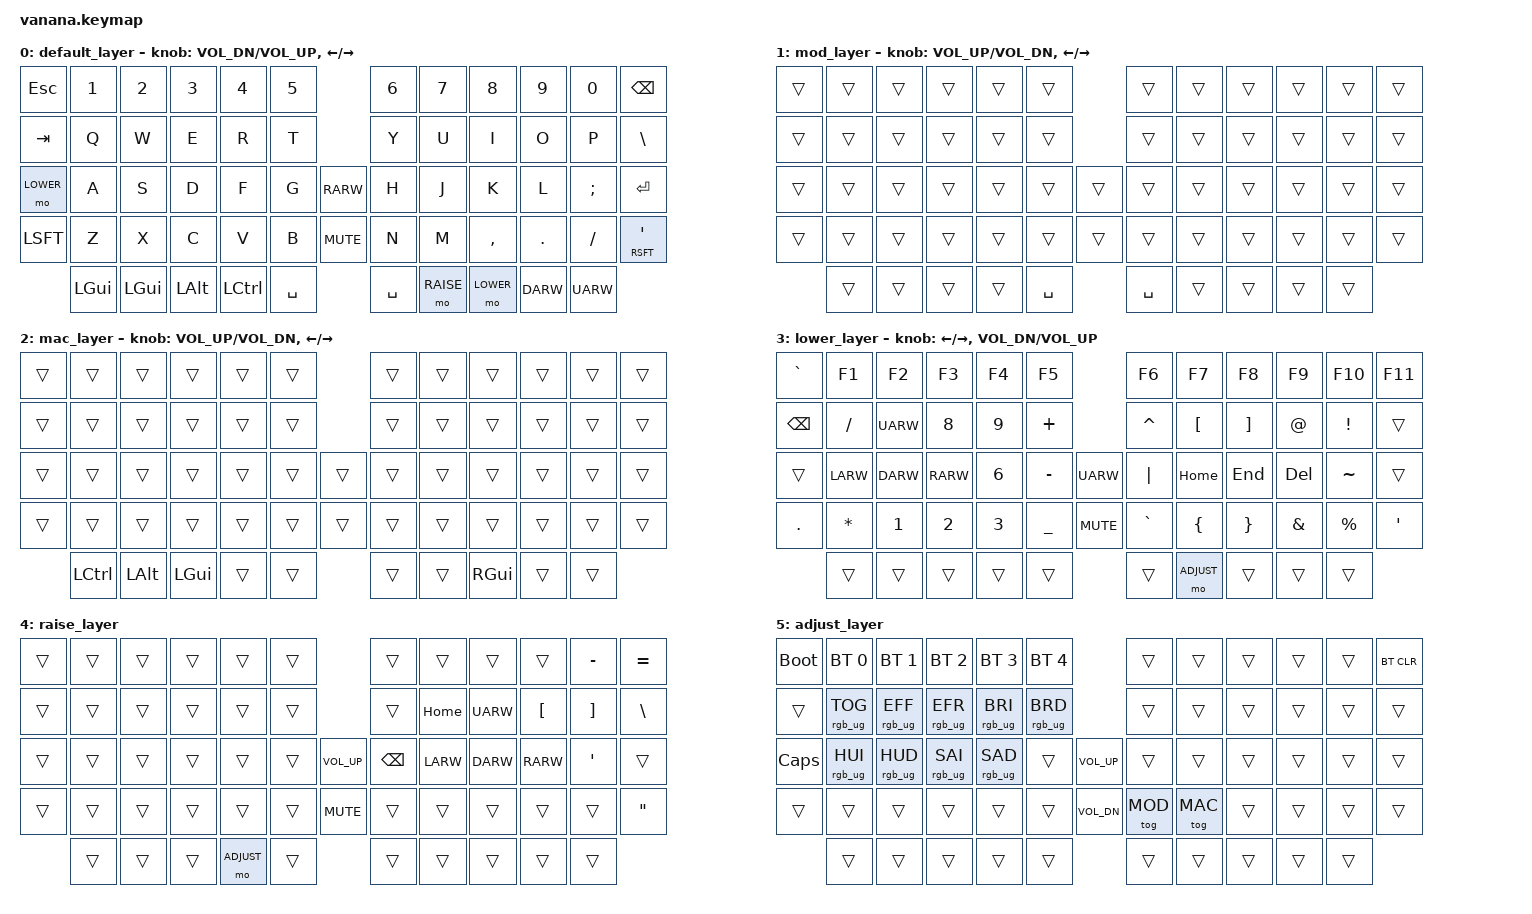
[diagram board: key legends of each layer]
/*
 * Copyright (c) 2020 dELLIKEEb
 *
 * SPDX-License-Identifier: MIT
 */

#include <behaviors.dtsi>
#include <dt-bindings/zmk/keys.h>
#include <dt-bindings/zmk/bt.h>
#include <dt-bindings/zmk/rgb.h>

// custom keycode defs for easier access
#define DEFAULT 0
#define MOD     1
#define MAC     2
#define LOWER   3
#define RAISE   4
#define ADJUST  5

// / {
//     behaviors {
//         hm: homerow_mods {
//             compatible = "zmk,behavior-hold-tap";
//             label = "homerow mods";
//             #binding-cells = <2>;
//             tapping_term_ms = <225>;
//             flavor = "tap-preferred";
//             bindings = <&kp>, <&kp>;
//         };
//     };
// };

// BASE
// -------------------------------------------               -------------------------------------------
// |   ESC  |   1  |   2  |   3  |   4  |   5  |               |   6  |   7  |   8  |   9  |   0  | Bksp |
// -------------------------------------------               -------------------------------------------
// | Tab  |   Q  |   W  |   E  |   R  |   T  |               |   Y  |   U  |   I  |   O  |   P  | Del  |
// -------------------------------------------   ---------  --------------------------------------------
// | Lower  |   A  |   S  |   D  |   F  |   G  |   | NONE  |   |   H  |   J  |   K  |   L  |   ;  |Enter |
// -------------------------------------------   ---------   -------------------------------------------
// | Shift|   Z  |   X  |   C  |   V  |   B  |   | MUTE  |   |   N  |   M  |   ,  |   .  |   /  | "    |
// -------------------------------------------   ---------   -------------------------------------------
//        | GUI | Alt  |  Alt |Ctrl |Space |               |Space |Raise |Alt   | DOWN | UP   |
//        ------------------------------------               ------------------------------------
// 

// LOWER
// -------------------------------------------               -------------------------------------------
// |   ESC|  F1  |  F2  |  F3  |  F4  |  F5  |               |  F6  |  F7  |  F8  |  F9  |  F10 | Bksp |
// -------------------------------------------               -------------------------------------------
// | Tab  |   Q  |   UP  |   E  |   R  |   T  |               |   Y  |   U  |   I  |   O  |   P  | Del  |
// -------------------------------------------   ---------  --------------------------------------------
// | Lower  |   left  |   down  |   right  |   F  |   G  |   | NONE  |   |   H  |   Del  |  home  |   end  |   ;  |Enter |
// -------------------------------------------   ---------   -------------------------------------------
// | Shift|   Z  |   X  |   C  |   V  |   B  |   | MUTE  |   |   N  |   M  |   ,  |   .  |   /  | "    |
// -------------------------------------------   ---------   -------------------------------------------
//        | GUI | GUI  |  Alt |Ctrl |Space |               |Space |Raise |Alt   | DOWN | UP   |
//        ------------------------------------               ------------------------------------
// 

// RAISE
// -------------------------------------------               -------------------------------------------
// |   ESC  |   1  |   2  |   3  |   4  |   5  |               |   6  |   7  |   8  |   9  |   -  |   =  |
// -------------------------------------------               -------------------------------------------
// | Tab  |   Q  |   W  |   E  |   R  |   T  |               |   Y  |   U  |   I  |   O  |   P  | Del  |
// -------------------------------------------   ---------  --------------------------------------------
// | Esc  |   A  |   S  |   D  |   F  |   G  |   | NONE  |   |   H  |   J  |   K  |   L  |   ;  |Enter |
// -------------------------------------------   ---------   -------------------------------------------
// | Shift|   Z  |   X  |   C  |   V  |   B  |   | MUTE  |   |   N  |   M  |   ,  |   .  |   /  | "    |
// -------------------------------------------   ---------   -------------------------------------------
//        | Ctrl | GUI  |  Alt |Lower |Space |               |Space |Raise |Alt   | DOWN | UP   |
//        ------------------------------------               ------------------------------------
// 


/ {
    keymap {
        compatible = "zmk,keymap";

        default_layer {
            bindings = <
                &kp ESC     &kp N1      &kp N2      &kp N3      &kp N4    &kp N5                    &kp N6      &kp N7      &kp N8      &kp N9      &kp N0      &kp BKSP
                &kp TAB     &kp Q       &kp W       &kp E       &kp R     &kp T                     &kp Y       &kp U       &kp I       &kp O       &kp P       &kp BSLH
                &mo LOWER   &kp A       &kp S       &kp D       &kp F     &kp G       &kp RARW      &kp H       &kp J       &kp K       &kp L       &kp SCLN    &kp RET
                &kp LSFT    &kp Z       &kp X       &kp C       &kp V     &kp B       &kp C_MUTE    &kp N       &kp M       &kp CMMA    &kp DOT     &kp FSLH    &mt RSFT SQT
                            &kp LGUI    &kp LGUI    &kp LALT    &kp LCTL  &kp SPC                   &kp SPC     &mo RAISE   &mo LOWER   &kp DARW    &kp UARW
            >;
            sensor-bindings = <&inc_dec_kp C_VOL_DN C_VOL_UP &inc_dec_kp LEFT RIGHT>;
        };

        mod_layer {
            bindings = <
                &trans      &trans      &trans      &trans      &trans      &trans                  &trans      &trans      &trans      &trans      &trans      &trans  
                &trans      &trans      &trans      &trans      &trans      &trans                  &trans      &trans      &trans      &trans      &trans      &trans
                &trans      &trans      &trans      &trans      &trans      &trans      &trans      &trans      &trans      &trans      &trans      &trans      &trans
                &trans      &trans      &trans      &trans      &trans      &trans      &trans      &trans      &trans      &trans      &trans      &trans      &trans 
                            &trans      &trans      &trans      &trans      &kp SPC                 &kp SPC     &trans      &trans      &trans      &trans
            >;
            sensor-bindings = <&inc_dec_kp C_VOL_UP C_VOL_DN &inc_dec_kp LEFT RIGHT>;
        };

        mac_layer {
            bindings = <
                &trans      &trans      &trans      &trans      &trans      &trans                  &trans      &trans      &trans      &trans      &trans      &trans  
                &trans      &trans      &trans      &trans      &trans      &trans                  &trans      &trans      &trans      &trans      &trans      &trans
                &trans      &trans      &trans      &trans      &trans      &trans      &trans      &trans      &trans      &trans      &trans      &trans      &trans
                &trans      &trans      &trans      &trans      &trans      &trans      &trans      &trans      &trans      &trans      &trans      &trans      &trans 
                            &kp LCTL    &kp LALT    &kp LGUI    &trans      &trans                  &trans      &trans      &kp RGUI    &trans      &trans
            >;
            sensor-bindings = <&inc_dec_kp C_VOL_UP C_VOL_DN &inc_dec_kp LEFT RIGHT>;
        };

        lower_layer {
            bindings = <
                &kp GRAV    &kp F1      &kp F2      &kp F3      &kp F4      &kp F5                  &kp F6      &kp F7      &kp F8      &kp F9      &kp F10     &kp F11  
                &kp BKSP    &kp FSLH    &kp UARW    &kp NUM_8   &kp NUM_9   &kp PLUS                &kp CARET   &kp LBKT    &kp RBKT    &kp AT      &kp EXCL    &trans
                &trans      &kp LARW    &kp DARW    &kp RARW    &kp NUM_6   &kp MINUS   &kp UARW    &kp PIPE    &kp HOME    &kp END     &kp DEL     &kp TILDE   &trans
                &kp DOT     &kp STAR    &kp NUM_1   &kp NUM_2   &kp NUM_3   &kp UNDER   &kp C_MUTE  &kp GRAV    &kp LBRC    &kp RBRC    &kp AMPS    &kp PRCNT   &kp SQT
                            &trans      &trans      &trans      &trans      &trans                  &trans      &mo ADJUST  &trans      &trans      &trans
            >;
            sensor-bindings = <&inc_dec_kp LEFT RIGHT &inc_dec_kp C_VOL_DN C_VOL_UP>;
        };

        raise_layer {
            bindings = <
                &trans      &trans      &trans      &trans      &trans      &trans                      &trans      &trans      &trans      &trans      &kp MINUS   &kp EQUAL  
                &trans      &trans      &trans      &trans      &trans      &trans                      &trans      &kp HOME    &kp UARW    &kp LBKT    &kp RBKT    &kp BSLH
                &trans      &trans      &trans      &trans      &trans      &trans      &kp C_VOL_UP    &kp BSPC    &kp LARW    &kp DARW    &kp RARW    &kp APOS    &trans 
                &trans      &trans      &trans      &trans      &trans      &trans      &kp C_MUTE      &trans      &trans      &trans      &trans      &trans      &kp DQT 
                            &trans      &trans      &trans      &mo ADJUST  &trans                      &trans      &trans      &trans      &trans      &trans
            >;
            
        };
        
        adjust_layer {
            bindings = <
                &bootloader &bt BT_SEL 0    &bt BT_SEL 1    &bt BT_SEL 2    &bt BT_SEL 3    &bt BT_SEL 4                    &trans      &trans      &trans      &trans      &trans      &bt BT_CLR        
                &trans      &rgb_ug RGB_TOG &rgb_ug RGB_EFF &rgb_ug RGB_EFR &rgb_ug RGB_BRI &rgb_ug RGB_BRD                 &trans      &trans      &trans      &trans      &trans      &trans
                &kp CAPS    &rgb_ug RGB_HUI &rgb_ug RGB_HUD &rgb_ug RGB_SAI &rgb_ug RGB_SAD &trans          &kp C_VOL_UP    &trans      &trans      &trans      &trans      &trans      &trans  
                &trans      &trans          &trans          &trans          &trans          &trans          &kp C_VOL_DN    &tog MOD    &tog MAC    &trans      &trans      &trans      &trans  
                            &trans          &trans          &trans          &trans          &trans                          &trans      &trans      &trans      &trans      &trans
            >;
        };

    };
};
